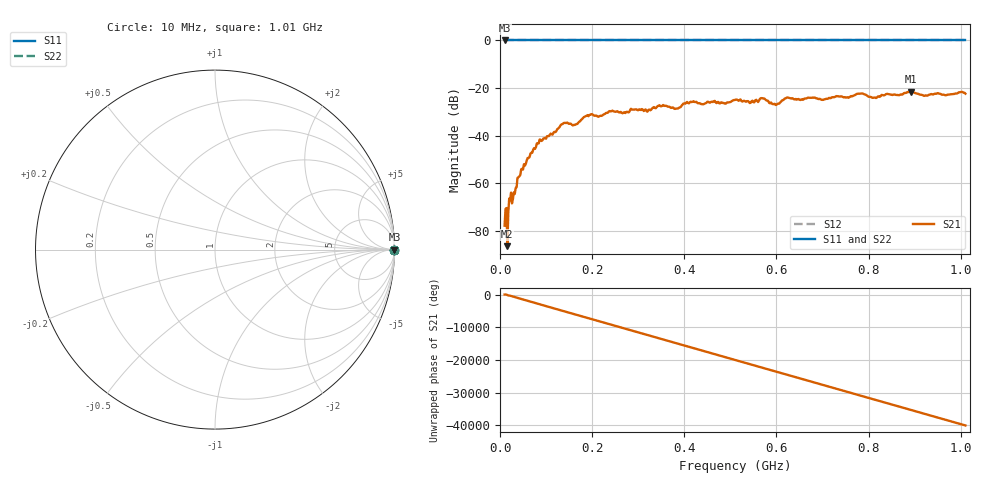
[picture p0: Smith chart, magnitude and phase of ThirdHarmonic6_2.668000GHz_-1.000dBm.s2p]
! 8/17/2025 6:11:41 AM
! C:\ANRITSUVNA\TEMP\TEMP.S2P
! CHANNEL.1
! TR.MEASUREMENT
! RAW.DATA
! RF.CORRECTION.OFF
! AVERAGING.OFF
! IF.BANDWIDTH: 5KHZ
! SWEEPTYPE:  FREQ.SWEEP(Linear)
! Reference Plane Port Info
! PORT:  PORT1  PORT2
! DISTANCE:  0  m  0  m
! TIME:  0  s  0  s
! PHASE.OFFSET:  0  deg.  0  deg.
! LOSS:  0  dB  0  dB
! REF.LOSS:  0  dB  0  dB
! REF.FREQ:  0  Hz  0  Hz
! Power Info
! POWER:  -20  dBm  -20  dBm
! EFF.POWER:  -20  dBm  -20  dBm
! SOURCE.ATTEN:  0  dB  0  dB
! TEST.ATTEN:  0  dB  0  dB
# GHZ S RI R 50.0
! FREQ.GHZ  S11RE  S11IM  S21RE  S21IM  S12RE  S12IM  S22RE  S22IM
!; PortSelection: Port_12
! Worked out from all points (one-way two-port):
!   501 points, 10 MHz to 1.01 GHz, reference 50 ohm
!   highest |S21| = -21.54 dB at 892 MHz (marker M1); lowest = -86.5 dB at 16 MHz (marker M2)
!   lowest |S11| = 0.0 dB at 10 MHz (marker M3)
!   |S11| at or under -10 dB: nowhere
!   |S22| runs from 0.0 to 0.0 dB; largest |S21 - S12| = 1.1
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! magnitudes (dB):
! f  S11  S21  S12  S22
! 10 MHz  0.0  -77.9  0.0  0.0
! 12 MHz  0.0  -70.8  0.0  0.0
! 16 MHz  0.0  -86.5  0.0  0.0
! 24 MHz  0.0  -64.0  0.0  0.0
! 30 MHz  0.0  -63.8  0.0  0.0
! 42 MHz  0.0  -57.1  0.0  0.0
! 84 MHz  0.0  -43.3  0.0  0.0
! 136 MHz  0.0  -35.1  0.0  0.0
! 162 MHz  0.0  -35.5  0.0  0.0
! 178 MHz  0.0  -33.1  0.0  0.0
! 344 MHz  0.0  -27.4  0.0  0.0
! 382 MHz  0.0  -28.7  0.0  0.0
! 416 MHz  0.0  -25.9  0.0  0.0
! 510 MHz  0.0  -25.0  0.0  0.0
! 570 MHz  0.0  -24.3  0.0  0.0
! 596 MHz  0.0  -26.6  0.0  0.0
! 622 MHz  0.0  -24.1  0.0  0.0
! 678 MHz  0.0  -24.0  0.0  0.0
! 844 MHz  0.0  -22.6  0.0  0.0
! 892 MHz  0.0  -21.5  0.0  0.0
! 924 MHz  0.0  -23.1  0.0  0.0
! 1.01 GHz  0.0  -22.4  0.0  0.0
